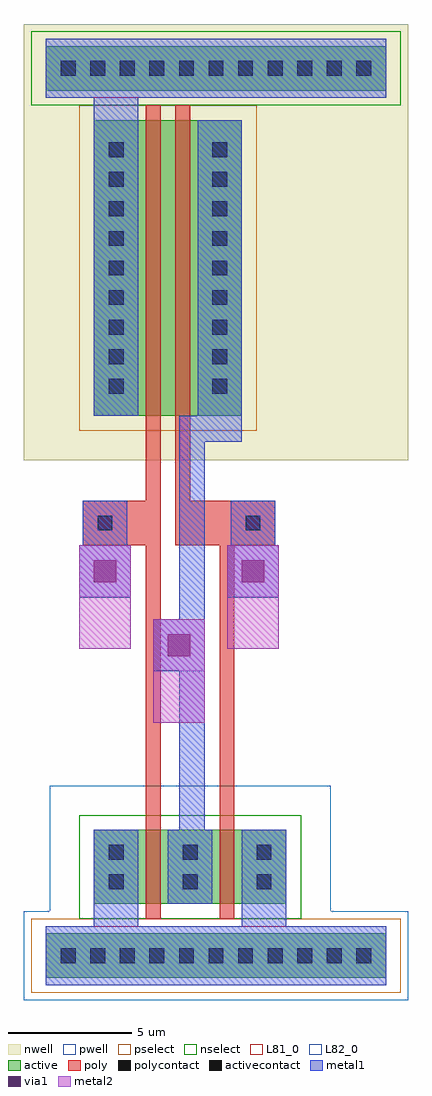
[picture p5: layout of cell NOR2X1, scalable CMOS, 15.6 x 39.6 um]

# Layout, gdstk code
import gdstk
lib = gdstk.Library(unit=1e-6, precision=1e-09)
def R(c, l, rs):  # rectangles x0, y0, x1, y1
    for r in rs: c.add(gdstk.rectangle(r[:2], r[2:], *l))
def A(c, l, x, y, w, h, nx, ny, dx, dy):  # array of equal rectangles
    R(c, l, [(x+i*dx, y+j*dy, x+i*dx+w, y+j*dy+h) for i in range(nx) for j in range(ny)])
pwell = (41, 0)
nwell = (42, 0)
active = (43, 0)
pselect = (44, 0)
nselect = (45, 0)
poly = (46, 0)
polycontact = (47, 0)
activecontact = (48, 0)
metal1 = (49, 0)
via1 = (50, 0)
metal2 = (51, 0)
L81_0 = (81, 0)
L82_0 = (82, 0)

nor2x1 = lib.new_cell('NOR2X1')
R(nor2x1, pwell, [(-1.8,-1.8,13.8,1.8), (-0.75,1.8,10.65,6.9)])
R(nor2x1, nwell, [(-1.8,20.1,13.8,37.8)])
R(nor2x1, active, [(-0.9,-0.9,12.9,0.9), (1.05,2.1,8.85,5.1), (1.05,21.9,7.05,33.9), (-0.9,35.1,12.9,36.9)])
R(nor2x1, pselect, [(-1.5,-1.5,13.5,1.5), (0.45,21.3,7.65,34.5)])
R(nor2x1, nselect, [(0.45,1.5,9.45,5.7), (-1.5,34.5,13.5,37.5)])
R(nor2x1, poly, [(3.15,1.5,3.75,16.65), (6.15,1.5,6.75,16.65), (0.6,16.65,3.75,18.45), (4.35,16.65,8.4,18.45), (3.15,18.45,3.75,34.5), (4.35,18.45,4.95,34.5)])
R(nor2x1, polycontact, [(1.2,17.25,1.8,17.85), (7.2,17.25,7.8,17.85)])
A(nor2x1, activecontact, -0.3, -0.3, 0.6, 0.6, 11, 2, 1.2, 36)
A(nor2x1, activecontact, 1.65, 2.7, 0.6, 0.6, 3, 2, 3, 1.2)
A(nor2x1, activecontact, 1.65, 22.8, 0.6, 0.6, 1, 9, 0, 1.2)
A(nor2x1, activecontact, 5.85, 22.8, 0.6, 0.6, 1, 9, 0, 1.2)
R(nor2x1, metal1, [(-0.9,-1.2,12.9,1.2), (1.05,1.2,2.85,5.1), (7.05,1.2,8.85,5.1), (4.05,2.1,5.85,5.1), (4.5,5.1,5.55,11.55), (3.45,11.55,5.55,13.65), (4.5,13.65,5.55,20.85), (0.45,14.55,2.55,16.65), (6.45,14.55,8.55,16.65), (0.6,16.65,2.4,18.45), (6.6,16.65,8.4,18.45), (4.5,20.85,7.05,21.9), (1.05,21.9,2.85,34.8), (5.25,21.9,7.05,33.9), (-0.9,34.8,12.9,37.2)])
R(nor2x1, via1, [(4.05,12.15,4.95,13.05), (1.05,15.15,1.95,16.05), (7.05,15.15,7.95,16.05)])
R(nor2x1, metal2, [(3.45,9.45,5.55,13.65), (0.45,12.45,2.55,16.65), (6.45,12.45,8.55,16.65)])
R(nor2x1, L81_0, [(-0.9,-1.2,12.9,1.2), (-0.9,34.8,12.9,37.2)])
R(nor2x1, L82_0, [(3.45,9.45,5.55,11.55), (0.45,12.45,2.55,14.55), (6.45,12.45,8.55,14.55)])

lib.write_gds('NOR2X1.gds')
